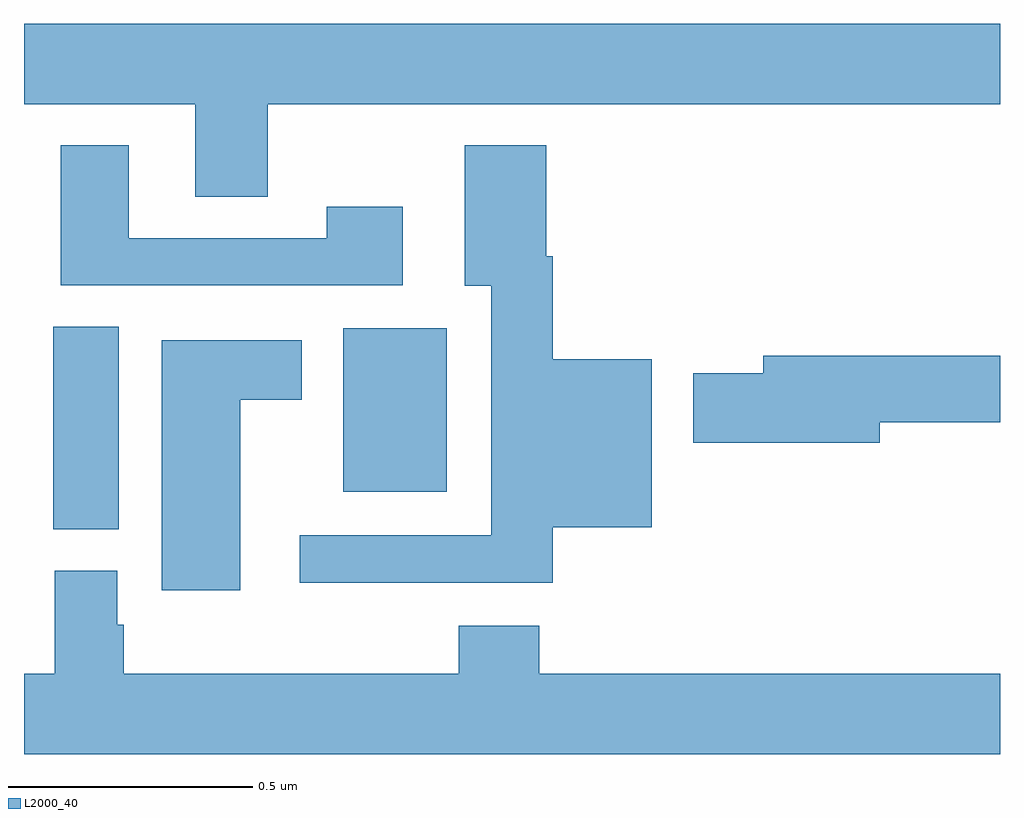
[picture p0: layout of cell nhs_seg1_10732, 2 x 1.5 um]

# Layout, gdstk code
import gdstk
lib = gdstk.Library(unit=1e-6, precision=1e-09)
def R(c, l, rs):  # rectangles x0, y0, x1, y1
    for r in rs: c.add(gdstk.rectangle(r[:2], r[2:], *l))
def P(c, l, *ps):  # polygons
    for p in ps: c.add(gdstk.Polygon(p, *l))
L2000_40 = (2000, 40)

nhs_seg1_10732 = lib.new_cell('nhs_seg1_10732')
R(nhs_seg1_10732, L2000_40, [(245.06,514.897,245.194,515.312), (245.654,514.973,245.866,515.308)])
P(nhs_seg1_10732, L2000_40, [(245.499,515.768),(247,515.768),(247,515.932),(245,515.932),(245,515.768),(245.351,515.768),(245.351,515.578),(245.499,515.578)],
  [(246.083,514.901),(246.286,514.901),(246.286,515.245),(246.083,515.245),(246.083,515.456),(246.07,515.456),(246.07,515.683),(245.903,515.683),(245.903,515.396),(245.957,515.396),(245.957,514.884),(245.565,514.884),(245.565,514.787),(246.083,514.787)],
  [(245.776,515.557),(245.62,515.557),(245.62,515.493),(245.215,515.493),(245.215,515.683),(245.075,515.683),(245.075,515.397),(245.776,515.397)],
  [(245.443,515.162),(245.569,515.162),(245.569,515.284),(245.282,515.284),(245.282,514.772),(245.443,514.772)],
  [(246.754,515.116),(247,515.116),(247,515.252),(246.515,515.252),(246.515,515.216),(246.371,515.216),(246.371,515.074),(246.754,515.074)],
  [(247,514.6),(246.056,514.6),(246.056,514.699),(245.891,514.699),(245.891,514.6),(245.204,514.6),(245.204,514.701),(245.191,514.701),(245.191,514.812),(245.063,514.812),(245.063,514.6),(245,514.6),(245,514.436),(247,514.436)])

lib.write_gds('nhs_seg1_10732.gds')
